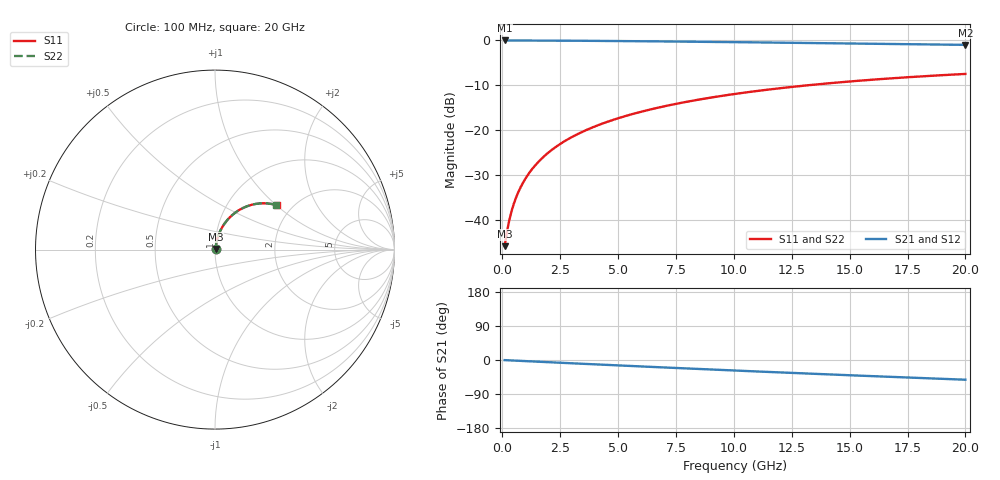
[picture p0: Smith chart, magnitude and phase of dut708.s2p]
! Touchstone file exported from HFSS 2026.1.0
!  File:  C:/ffzhzh/LocalFiles/Ansys_Project_Files/temp_train_BSMRDL_708_1783168145_55132.aedt
!  Generated:  08:30:28 PM Jul  4, 2026
!  Design:  BSMRDL
!  Project:  temp_train_BSMRDL_708_1783168145_55132
! Variables:
!  h_bsmrdl = 5.51um
!  h_ox = 20um
!  h_rdl = 5um
!  h_sub = 80um
!  h_tmrdl = 5um
!  h_tsv = 80um
!  h_via = 3um
!  l_bsmrdl = 839.11um
!  l_sub = 1239.11um
!  l_tmrdl = 200um
!  m_sub = 200um
!  pitch = 32.77um
!  r_tsv = 6um
!  s_tmrdl = 10um
!  w_bsmrdl = 13.17um
!  w_sub = 500um
!  w_tmrdl = 12um
!  x_tsv_center1 = 206um
!  x_tsv_center2 = 1058.28um
!  x_tsv_center3 = 1270.28um
!  x_tsv_center4 = 2122.56um
!  x_tsv_center5 = 2334.56um
!  x_tsv_center6 = 3186.84um
# GHz S MA R 50.000000
! Terminal data exported
! Port[1] = BSM_RDL1_1_T1
! Port[2] = BSM_RDL1_1_T2
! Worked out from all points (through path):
!   200 points, 100 MHz to 20 GHz, reference 50 ohm
!   highest |S21| = -0.04 dB at 100 MHz (marker M1); lowest = -1.0 dB at 20 GHz (marker M2)
!   group delay of S21, straight-line fit = 7.21 ps
!   lowest |S11| = -45.8 dB at 100 MHz (marker M3), VSWR 1.01, Z = 50.4 + j0.306 ohm
!   |S11| at or under -10 dB: start of sweep to 13.19 GHz
!   |S22| runs from -45.8 to -7.5 dB; largest |S21 - S12| = 1.3e-14
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0.1  0.005151 36.1  0.9958 -0.3  0.9958 -0.3  0.005151 36.1
! Gamma 0 0 0 0
! Port Impedance 50 0 50 0
0.2  0.007398 53.9  0.9957 -0.6  0.9957 -0.6  0.007398 53.9
0.3  0.009958 62.6  0.9955 -0.9  0.9955 -0.9  0.009958 62.6
0.4  0.01261 67.5  0.9954 -1.2  0.9954 -1.2  0.01261 67.5
0.5  0.0153 70.7  0.9952 -1.5  0.9952 -1.5  0.0153 70.7
0.6  0.01802 72.9  0.9951 -1.8  0.9951 -1.8  0.01802 72.9
0.8  0.02351 75.6  0.9948 -2.4  0.9948 -2.4  0.02351 75.6
1.1  0.03181 77.5  0.9944 -3.2  0.9944 -3.2  0.03181 77.5
1.3  0.03737 78.1  0.994 -3.8  0.994 -3.8  0.03737 78.1
1.6  0.04569 78.3  0.9934 -4.7  0.9934 -4.7  0.04569 78.4
2.1  0.05949 78.1  0.9922 -6.1  0.9922 -6.1  0.05949 78.1
2.7  0.07584 77.1  0.9904 -7.8  0.9904 -7.8  0.07584 77.1
3.5  0.09722 75.4  0.9876 -10.1  0.9876 -10.1  0.09723 75.4
4.2  0.1155 73.7  0.9848 -12.1  0.9848 -12.1  0.1155 73.7
5  0.1359 71.7  0.9812 -14.3  0.9812 -14.3  0.1359 71.7
5.9  0.1583 69.4  0.9769 -16.7  0.9769 -16.7  0.1583 69.5
6.8  0.1801 67.2  0.9723 -19.2  0.9723 -19.2  0.1801 67.2
8.3  0.215 63.4  0.9641 -23.2  0.9641 -23.2  0.215 63.5
10.1  0.2545 59.0  0.9534 -27.9  0.9534 -27.9  0.2545 59.0
13.4  0.3201 51.0  0.9323 -36.3  0.9323 -36.3  0.3201 51.0
16.7  0.3763 43.3  0.9106 -44.3  0.9106 -44.3  0.3763 43.3
20  0.4229 35.9  0.8898 -52.0  0.8898 -52.0  0.4229 35.9
